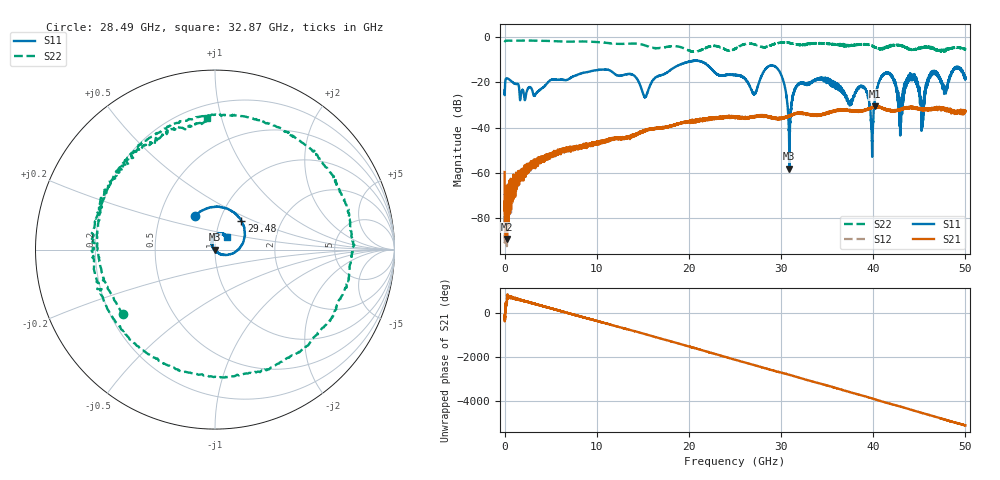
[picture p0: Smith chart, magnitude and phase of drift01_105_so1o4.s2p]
!Created with skrf (http://scikit-rf.org).
# Hz S RI R 50.0
!freq ReS11 ImS11 ReS21 ImS21 ReS12 ImS12 ReS22 ImS22
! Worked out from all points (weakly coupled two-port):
!   10001 points, 300 kHz to 50 GHz, reference 50 ohm
!   highest |S21| = -30.58 dB at 40.14 GHz (marker M1); lowest = -89.4 dB at 270.3 MHz (marker M2)
!   lowest |S11| = -58.2 dB at 30.9 GHz (marker M3), VSWR 1.00, Z = 49.9 - j0.0577 ohm
!   |S11| at or under -10 dB: start of sweep to end of sweep
!   |S22| runs from -6.5 to -1.4 dB; largest |S21 - S12| = 0.0045
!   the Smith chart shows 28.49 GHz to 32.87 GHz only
!   S11 on the Smith chart (normalised r, x): 28.49 GHz: 0.75, +0.29; 29.48 GHz: 1.26, +0.42; 32.87 GHz: 1.14, +0.16
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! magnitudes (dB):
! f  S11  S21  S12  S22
! 300 kHz  -23.5  -59.7  -62.4  -2.2
! 270.3 MHz  -18.1  -89.4  -69.0  -1.4
! 3.06 GHz  -24.4  -56.9  -57.2  -1.4
! 8.335 GHz  -15.9  -48.5  -48.3  -1.8
! 13.8 GHz  -16.4  -44.0  -44.0  -2.7
! 15.23 GHz  -26.5  -41.3  -41.4  -3.6
! 16.67 GHz  -17.1  -40.2  -40.5  -4.8
! 25 GHz  -16.7  -35.4  -35.6  -5.1
! 27.11 GHz  -25.1  -35.1  -35.3  -3.1
! 28.49 GHz  -13.3  -35.0  -35.1  -4.1
! 29.48 GHz  -13.3  -36.1  -35.9  -2.7
! 30.9 GHz  -58.2  -34.8  -34.8  -2.5
! 31.61 GHz  -22.2  -33.6  -33.9  -3.0
! 32.87 GHz  -20.3  -34.1  -33.9  -2.7
! 33.34 GHz  -19.7  -34.5  -34.4  -2.7
! 40.14 GHz  -29.2  -30.6  -30.9  -4.3
! 41.67 GHz  -16.1  -32.2  -32.3  -4.1
! 42.93 GHz  -33.9  -32.2  -32.0  -3.5
! 43.97 GHz  -17.5  -31.2  -31.1  -5.4
! 45.31 GHz  -36.2  -32.0  -32.0  -4.4
! 46.42 GHz  -15.6  -31.6  -31.7  -4.6
! 50 GHz  -17.6  -32.5  -32.8  -5.3
